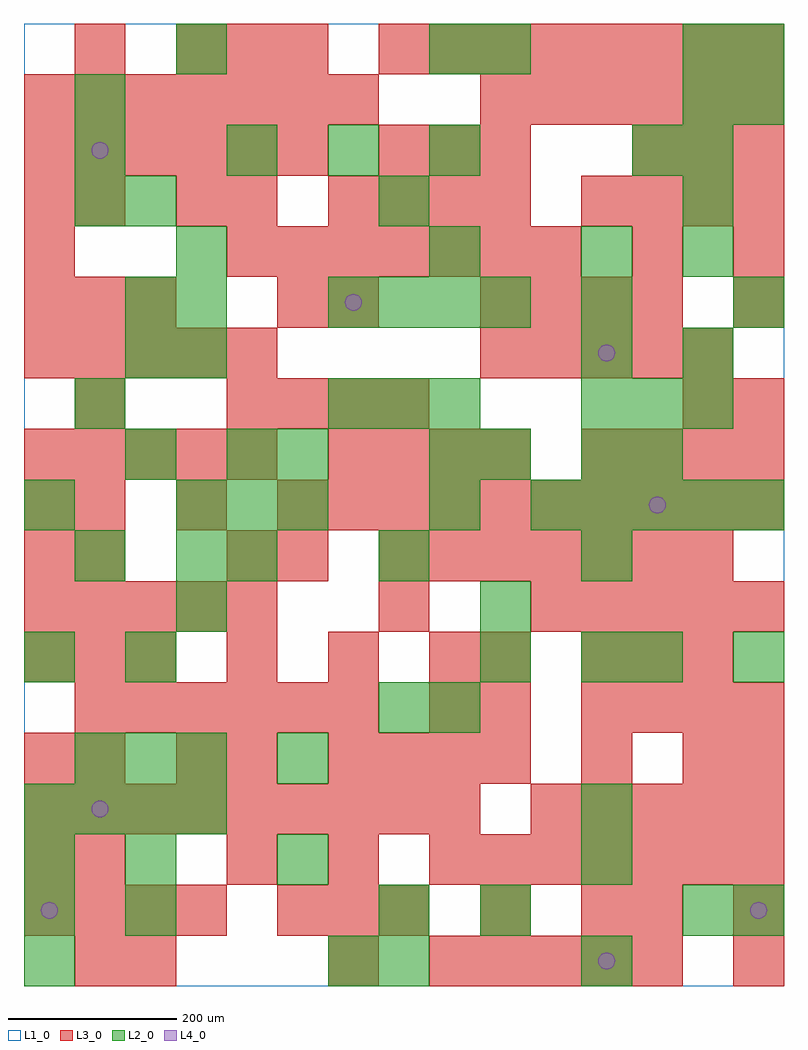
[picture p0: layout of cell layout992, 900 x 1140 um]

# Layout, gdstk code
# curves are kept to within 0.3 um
import gdstk
lib = gdstk.Library(unit=1e-6, precision=1e-09)
def R(c, l, rs):  # rectangles x0, y0, x1, y1
    for r in rs: c.add(gdstk.rectangle(r[:2], r[2:], *l))
def A(c, l, x, y, w, h, nx, ny, dx, dy):  # array of equal rectangles
    R(c, l, [(x+i*dx, y+j*dy, x+i*dx+w, y+j*dy+h) for i in range(nx) for j in range(ny)])
def P(c, l, *ps):  # polygons
    for p in ps: c.add(gdstk.Polygon(p, *l))
L1_0 = (1, 0)
L2_0 = (2, 0)
L3_0 = (3, 0)
L4_0 = (4, 0)

layout992 = lib.new_cell('layout992')
R(layout992, L1_0, [(0,0,900,1140)])
A(layout992, L2_0, 0, 0, 60, 60, 1, 3, 0, 60)
A(layout992, L2_0, 120, 120, 60, 60, 1, 3, 0, 240)
A(layout992, L2_0, 0, 180, 60, 60, 4, 1, 60, 0)
A(layout992, L2_0, 60, 240, 60, 60, 3, 1, 60, 0)
A(layout992, L2_0, 660, 360, 60, 60, 1, 4, 0, 120)
A(layout992, L2_0, 180, 540, 60, 60, 3, 1, 60, 0)
A(layout992, L2_0, 600, 540, 60, 60, 5, 1, 60, 0)
A(layout992, L2_0, 480, 600, 60, 60, 1, 3, 0, 240)
A(layout992, L2_0, 360, 660, 60, 60, 3, 1, 60, 0)
A(layout992, L2_0, 660, 660, 60, 60, 3, 1, 60, 0)
A(layout992, L2_0, 180, 720, 60, 60, 1, 3, 0, 60)
A(layout992, L2_0, 360, 780, 60, 60, 4, 1, 60, 0)
A(layout992, L2_0, 780, 840, 60, 60, 1, 5, 0, 60)
A(layout992, L2_0, 60, 900, 60, 60, 1, 3, 0, 60)
A(layout992, L2_0, 240, 960, 60, 60, 3, 1, 120, 0)
R(layout992, L2_0, [(360,0,420,60), (420,0,480,60), (660,0,720,60), (120,60,180,120), (420,60,480,120), (540,60,600,120), (780,60,840,120), (840,60,900,120), (300,120,360,180), (660,120,720,180), (660,180,720,240), (300,240,360,300), (420,300,480,360), (480,300,540,360), (0,360,60,420), (540,360,600,420), (720,360,780,420), (840,360,900,420), (180,420,240,480), (540,420,600,480), (60,480,120,540), (180,480,240,540), (240,480,300,540), (420,480,480,540), (0,540,60,600), (480,540,540,600), (240,600,300,660), (300,600,360,660), (540,600,600,660), (720,600,780,660), (60,660,120,720), (120,720,180,780), (780,720,840,780), (120,780,180,840), (660,780,720,840), (840,780,900,840), (660,840,720,900), (120,900,180,960), (420,900,480,960), (720,960,780,1020), (840,1020,900,1080), (180,1080,240,1140), (540,1080,600,1140), (840,1080,900,1140)])
A(layout992, L3_0, 60, 0, 60, 60, 1, 3, 0, 120)
A(layout992, L3_0, 480, 0, 60, 60, 5, 1, 60, 0)
A(layout992, L3_0, 0, 60, 60, 60, 4, 1, 60, 0)
A(layout992, L3_0, 300, 60, 60, 60, 3, 1, 60, 0)
A(layout992, L3_0, 240, 120, 60, 60, 3, 2, 120, 240)
A(layout992, L3_0, 540, 120, 60, 60, 6, 2, 60, 900)
A(layout992, L3_0, 0, 180, 60, 60, 9, 1, 60, 0)
A(layout992, L3_0, 600, 180, 60, 60, 5, 2, 60, 240)
A(layout992, L3_0, 360, 240, 60, 60, 4, 2, 60, 360)
A(layout992, L3_0, 60, 300, 60, 60, 6, 1, 60, 0)
A(layout992, L3_0, 660, 300, 60, 60, 4, 3, 60, 300)
A(layout992, L3_0, 0, 360, 60, 60, 3, 2, 60, 420)
A(layout992, L3_0, 660, 360, 60, 60, 3, 1, 60, 0)
A(layout992, L3_0, 0, 420, 60, 60, 5, 2, 60, 180)
A(layout992, L3_0, 420, 480, 60, 60, 7, 1, 60, 0)
A(layout992, L3_0, 60, 540, 60, 60, 3, 1, 120, 0)
A(layout992, L3_0, 360, 540, 60, 60, 9, 1, 60, 0)
A(layout992, L3_0, 240, 660, 60, 60, 4, 1, 60, 0)
A(layout992, L3_0, 0, 720, 60, 60, 5, 1, 60, 0)
A(layout992, L3_0, 540, 720, 60, 60, 5, 1, 60, 0)
A(layout992, L3_0, 540, 780, 60, 60, 4, 1, 60, 0)
A(layout992, L3_0, 240, 840, 60, 60, 7, 1, 60, 0)
A(layout992, L3_0, 360, 900, 60, 60, 4, 1, 60, 0)
A(layout992, L3_0, 0, 960, 60, 60, 6, 1, 60, 0)
A(layout992, L3_0, 420, 960, 60, 60, 3, 1, 60, 0)
A(layout992, L3_0, 720, 960, 60, 60, 3, 1, 60, 0)
A(layout992, L3_0, 0, 1020, 60, 60, 7, 1, 60, 0)
A(layout992, L3_0, 180, 1080, 60, 60, 3, 1, 60, 0)
A(layout992, L3_0, 420, 1080, 60, 60, 8, 1, 60, 0)
R(layout992, L3_0, [(120,0,180,60), (360,0,420,60), (840,0,900,60), (540,60,600,120), (660,60,720,120), (720,60,780,120), (840,60,900,120), (0,120,60,180), (0,240,60,300), (180,240,240,300), (240,240,300,300), (660,240,720,300), (780,240,840,300), (840,240,900,300), (480,300,540,360), (540,300,600,360), (540,360,600,420), (420,420,480,480), (0,480,60,540), (60,480,120,540), (240,480,300,540), (300,480,360,540), (0,540,60,600), (60,660,120,720), (780,660,840,720), (840,660,900,720), (300,780,360,840), (360,780,420,840), (840,780,900,840), (0,840,60,900), (720,840,780,900), (840,840,900,900), (0,900,60,960), (60,900,120,960), (180,900,240,960), (240,900,300,960), (60,1080,120,1140)])
P(layout992, L4_0, [(40,90),(39.239,93.827),(37.071,97.071),(33.827,99.239),(30,100),(26.173,99.239),(22.929,97.071),(20.761,93.827),(20,90),(20.761,86.173),(22.929,82.929),(26.173,80.761),(30,80),(33.827,80.761),(37.071,82.929),(39.239,86.173)],
  [(100,210),(99.239,213.827),(97.071,217.071),(93.827,219.239),(90,220),(86.173,219.239),(82.929,217.071),(80.761,213.827),(80,210),(80.761,206.173),(82.929,202.929),(86.173,200.761),(90,200),(93.827,200.761),(97.071,202.929),(99.239,206.173)],
  [(100,990),(99.239,993.827),(97.071,997.071),(93.827,999.239),(90,1000),(86.173,999.239),(82.929,997.071),(80.761,993.827),(80,990),(80.761,986.173),(82.929,982.929),(86.173,980.761),(90,980),(93.827,980.761),(97.071,982.929),(99.239,986.173)],
  [(400,810),(399.239,813.827),(397.071,817.071),(393.827,819.239),(390,820),(386.173,819.239),(382.929,817.071),(380.761,813.827),(380,810),(380.761,806.173),(382.929,802.929),(386.173,800.761),(390,800),(393.827,800.761),(397.071,802.929),(399.239,806.173)],
  [(700,30),(699.239,33.827),(697.071,37.071),(693.827,39.239),(690,40),(686.173,39.239),(682.929,37.071),(680.761,33.827),(680,30),(680.761,26.173),(682.929,22.929),(686.173,20.761),(690,20),(693.827,20.761),(697.071,22.929),(699.239,26.173)],
  [(700,750),(699.239,753.827),(697.071,757.071),(693.827,759.239),(690,760),(686.173,759.239),(682.929,757.071),(680.761,753.827),(680,750),(680.761,746.173),(682.929,742.929),(686.173,740.761),(690,740),(693.827,740.761),(697.071,742.929),(699.239,746.173)],
  [(760,570),(759.239,573.827),(757.071,577.071),(753.827,579.239),(750,580),(746.173,579.239),(742.929,577.071),(740.761,573.827),(740,570),(740.761,566.173),(742.929,562.929),(746.173,560.761),(750,560),(753.827,560.761),(757.071,562.929),(759.239,566.173)],
  [(880,90),(879.239,93.827),(877.071,97.071),(873.827,99.239),(870,100),(866.173,99.239),(862.929,97.071),(860.761,93.827),(860,90),(860.761,86.173),(862.929,82.929),(866.173,80.761),(870,80),(873.827,80.761),(877.071,82.929),(879.239,86.173)])

lib.write_gds('layout992.gds')
